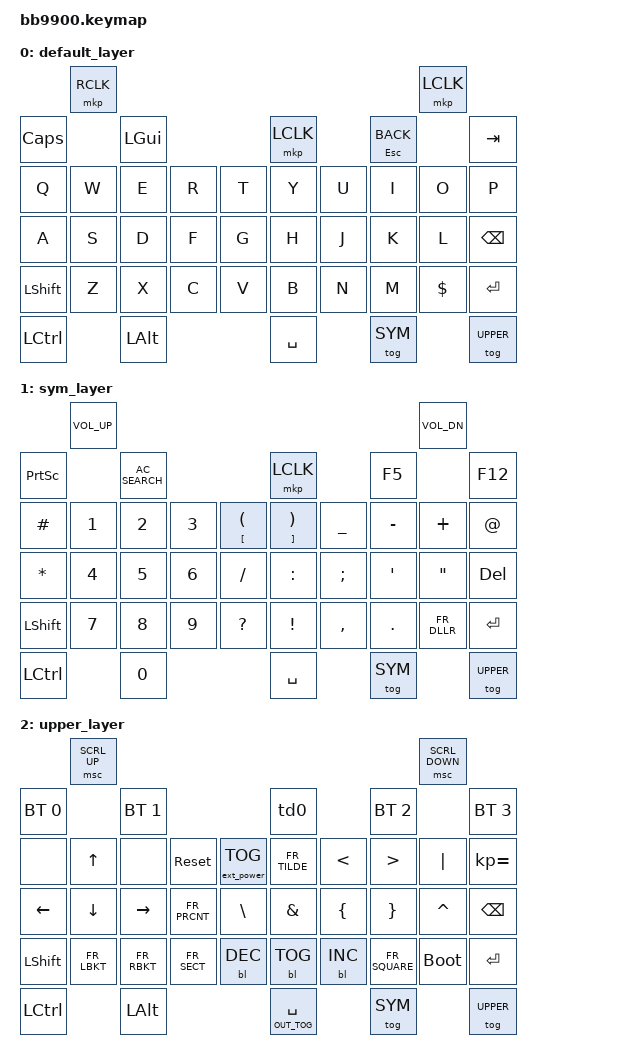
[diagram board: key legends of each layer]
/*
 * Copyright (c) 2023 ZitaoTech
 * trying to modify it from Lacouelle for a French AZERTY Keyboard
 * SPDX-License-Identifier: MIT
 */
   
#include <behaviors.dtsi>
#include <dt-bindings/zmk/keys.h>
#include <dt-bindings/zmk/bt.h>
#include <dt-bindings/zmk/outputs.h>
#include <dt-bindings/zmk/mouse.h>
#include <dt-bindings/zmk/backlight.h>
#include <dt-bindings/zmk/ext_power.h>
#include "keys_fr.h"

#define SYM 1
#define UPPER 2

/ {
    behaviors {
        td0: tap_dance_0 {
            compatible = "zmk,behavior-tap-dance";
            #binding-cells = <0>;
            tapping-term-ms = <400>;
            bindings = <&mkp LCLK>, <&bt BT_CLR>;
        };
    };
    behaviors {
        hm: homerow_mods {
            compatible = "zmk,behavior-hold-tap";
            #binding-cells = <2>;
            tapping-term-ms = <500>;
            bindings = <&out &kp>;
        };
    };

    keymap {
        compatible = "zmk,keymap";

        default_layer {

            bindings = <
//         --------------------------------------------------------------------------------------------------------------------------         
//         |    Shoulder Key1    |                                                                             |    Shoulder Key2    |     
// |         Call key      |      Blackberry Key        |    Trackpad    |             Back Key                |             Endcall Key          |
// |     A      |     Z    |     E    |     R    |      T      |       Y        |       U        |        I        |       O      |      P        |     
// |     Q      |     S    |     D    |     F    |      G      |       H        |       J        |        K        |       L      |      ←        |  
// |     alt    |     W    |     X    |     C    |      V      |       B        |       N        |        M        |       €      |    Enter      |   
//        |         aA     |         0           |           SPACE              |         SYM         |        aA          |       
//        -----------------------------------------------------------------------------------------------------------------

                 &mkp RCLK                                                                                          &mkp LCLK
    &kp CLCK                &kp LGUI                            &mkp LCLK                          &mt ESC K_BACK                    &kp TAB
    &kp Q        &kp W      &kp E       &kp R     &kp T         &kp Y             &kp U            &kp I            &kp O            &kp P
    &kp A        &kp S      &kp D       &kp F     &kp G         &kp H             &kp J            &kp K            &kp L            &kp BSPC
    &kp LSHFT    &kp Z      &kp X       &kp C     &kp V         &kp B             &kp N            &kp M            &kp DLLR         &kp ENTER
    &kp LCTRL               &kp LALT                            &kp SPACE                          &tog SYM                          &tog UPPER
            >;
        };


        sym_layer {

            bindings = <        
                 &kp C_VOL_UP                                                                                       &kp C_VOL_DN
    &kp PSCRN               &kp C_AC_SEARCH                     &mkp LCLK                          &kp F5                            &kp F12 
    &kp HASH     &kp N1     &kp N2      &kp N3    &mt LBKT LPAR &mt RBKT RPAR     &kp UNDER        &kp MINUS        &kp PLUS         &kp AT
    &kp STAR     &kp N4     &kp N5      &kp N6    &kp SLASH     &kp COLON         &kp SEMI         &kp APOS         &kp DQT          &kp DEL
    &kp LSHFT    &kp N7     &kp N8      &kp N9    &kp QMARK     &kp EXCL          &kp COMMA        &kp DOT          &kp FR_DLLR      &kp ENTER
    &kp LCTRL               &kp N0                              &kp SPACE                          &tog SYM                          &tog UPPER
            >;
        };

        upper_layer {

            bindings = <
                 &msc SCRL_UP                                                                                       &msc SCRL_DOWN
    &bt BT_SEL 0            &bt BT_SEL 1                             &td0                           &bt BT_SEL 2                     &bt BT_SEL 3
    &none      &kp UP      &none       &sys_reset   &ext_power EP_TOG &kp FR_TILDE  &kp LT           &kp GT          &kp PIPE         &kp KP_EQUAL
    &kp LEFT   &kp DOWN    &kp RIGHT   &kp FR_PRCNT &kp BSLH          &kp AMPS      &kp LBRC         &kp RBRC        &kp CARET        &kp BSPC
    &kp LSHFT  &kp FR_LBKT &kp FR_RBKT &kp FR_SECT  &bl BL_DEC        &bl BL_TOG    &bl BL_INC       &kp FR_SQUARE   &bootloader      &kp ENTER
    &kp LCTRL              &kp LALT                                   &hm OUT_TOG SPACE              &tog SYM                         &tog UPPER
            >;
        };
    };
};

